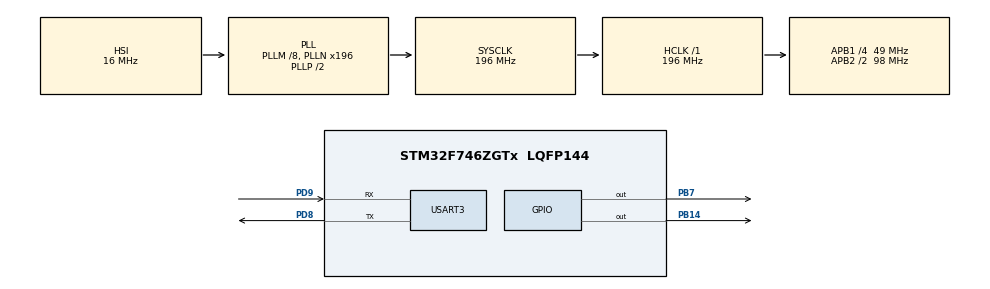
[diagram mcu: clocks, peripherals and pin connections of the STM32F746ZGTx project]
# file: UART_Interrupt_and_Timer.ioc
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Mcu.Family=STM32F7
NVIC.USART3_IRQn=true\:0\:0\:false\:false\:true\:true\:true
RCC.CortexFreq_Value=196000000
TIM1.Channel-Output\ Compare1\ No\ Output=TIM_CHANNEL_1
PD9.Signal=USART3_RX
RCC.APB1CLKDivider=RCC_HCLK_DIV4
PD9.Mode=Asynchronous
RCC.SYSCLKSource=RCC_SYSCLKSOURCE_PLLCLK
ProjectManager.StackSize=0x400
VP_TIM1_VS_no_output1.Mode=Output Compare1 No Output
USART3.VirtualMode-Asynchronous=VM_ASYNC
TIM1.Prescaler=16-1
ProjectManager.TargetToolchain=STM32CubeIDE
RCC.HCLKFreq_Value=196000000
RCC.APB2TimFreq_Value=196000000
PD8.Signal=USART3_TX
RCC.USBFreq_Value=196000000
RCC.LSE_VALUE=32768
PD8.Mode=Asynchronous
RCC.AHBFreq_Value=196000000
PB14.Signal=GPIO_Output
RCC.HSE_VALUE=25000000
board=custom
RCC.VCOOutputFreq_Value=392000000
RCC.APB2Freq_Value=98000000
PB7.Signal=GPIO_Output
Mcu.Name=STM32F746ZGTx
VP_TIM1_VS_ClockSourceINT.Mode=Internal
NVIC.TIM1_CC_IRQn=true\:1\:0\:true\:false\:true\:true\:true
RCC.SYSCLKFreq_VALUE=196000000
Mcu.Package=LQFP144
TIM1.Pulse-Output\ Compare1\ No\ Output=65535
ProjectManager.HeapSize=0x200
RCC.HSI_VALUE=16000000
NVIC.PriorityGroup=NVIC_PRIORITYGROUP_4
RCC.APB2CLKDivider=RCC_HCLK_DIV2
RCC.PLLM=8
RCC.PLLN=196
RCC.APB1TimFreq_Value=98000000
RCC.APB1Freq_Value=49000000

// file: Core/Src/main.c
/* USER CODE BEGIN Header */
/**
  ******************************************************************************
  * @file           : main.c
  * @brief          : Main program body
  ******************************************************************************
  * @attention
  *
  * <h2><center>&copy; Copyright (c) 2021 STMicroelectronics.
  * All rights reserved.</center></h2>
  *
  * This software component is licensed by ST under BSD 3-Clause license,
  * the "License"; You may not use this file except in compliance with the
  * License. You may obtain a copy of the License at:
  *                        opensource.org/licenses/BSD-3-Clause
  *
  ******************************************************************************
  */
/* USER CODE END Header */
#include "main.h"

TIM_HandleTypeDef htim1;

UART_HandleTypeDef huart3;

/* USER CODE BEGIN PV */
uint8_t aRxBuffer[8]={0};
uint8_t aTxBuffer[8]={0};

/* USER CODE END PV */

void SystemClock_Config(void);
static void MX_GPIO_Init(void);
static void MX_USART3_UART_Init(void);
static void MX_TIM1_Init(void);

/* USER CODE BEGIN 0 */
void HAL_UART_ErrorCallback(UART_HandleTypeDef *huart){
	HAL_GPIO_TogglePin(GPIOB, GPIO_PIN_7);
}

void HAL_UART_RxCpltCallback(UART_HandleTypeDef *huart){
	HAL_UART_Receive_IT(&huart3, aRxBuffer, 8);
	HAL_GPIO_TogglePin(GPIOB, GPIO_PIN_7);
	HAL_UART_Transmit_IT(&huart3, aTxBuffer, 8);
}

void HAL_UART_TxCpltCallback(UART_HandleTypeDef *huart){
	//HAL_UART_Receive_IT(&huart3, aRxBuffer, 8);
	HAL_GPIO_TogglePin(GPIOB, GPIO_PIN_7);
}

void HAL_TIM_OC_DelayElapsedCallback(TIM_HandleTypeDef * htim){
	HAL_GPIO_TogglePin(GPIOB, GPIO_PIN_14);
	__HAL_TIM_SET_COUNTER(&htim1, 0);
}
/* USER CODE END 0 */

int main(void)
{

  /* MCU Configuration--------------------------------------------------------*/

  /* Reset of all peripherals, Initializes the Flash interface and the Systick. */
  HAL_Init();

  /* Configure the system clock */
  SystemClock_Config();

  /* Initialize all configured peripherals */
  MX_GPIO_Init();
  MX_USART3_UART_Init();
  MX_TIM1_Init();
  /* USER CODE BEGIN 2 */
  HAL_UART_Receive_IT(&huart3, aRxBuffer, 8);
  HAL_TIM_OC_Start_IT(&htim1, TIM_CHANNEL_1);
  /* USER CODE END 2 */

  /* Infinite loop */
  while (1)
  {

  }
}

void SystemClock_Config(void)
{
  RCC_OscInitTypeDef RCC_OscInitStruct = {0};
  RCC_ClkInitTypeDef RCC_ClkInitStruct = {0};
  RCC_PeriphCLKInitTypeDef PeriphClkInitStruct = {0};

  /** Configure the main internal regulator output voltage
  */
  __HAL_RCC_PWR_CLK_ENABLE();
  __HAL_PWR_VOLTAGESCALING_CONFIG(PWR_REGULATOR_VOLTAGE_SCALE1);
  /** Initializes the RCC Oscillators according to the specified parameters
  * in the RCC_OscInitTypeDef structure.
  */
  RCC_OscInitStruct.OscillatorType = RCC_OSCILLATORTYPE_HSI;
  RCC_OscInitStruct.HSIState = RCC_HSI_ON;
  RCC_OscInitStruct.HSICalibrationValue = RCC_HSICALIBRATION_DEFAULT;
  RCC_OscInitStruct.PLL.PLLState = RCC_PLL_ON;
  RCC_OscInitStruct.PLL.PLLSource = RCC_PLLSOURCE_HSI;
  RCC_OscInitStruct.PLL.PLLM = 8;
  RCC_OscInitStruct.PLL.PLLN = 196;
  RCC_OscInitStruct.PLL.PLLP = RCC_PLLP_DIV2;
  RCC_OscInitStruct.PLL.PLLQ = 2;
  if (HAL_RCC_OscConfig(&RCC_OscInitStruct) != HAL_OK)
  {
    Error_Handler();
  }
  /** Activate the Over-Drive mode
  */
  if (HAL_PWREx_EnableOverDrive() != HAL_OK)
  {
    Error_Handler();
  }
  /** Initializes the CPU, AHB and APB buses clocks
  */
  RCC_ClkInitStruct.ClockType = RCC_CLOCKTYPE_HCLK|RCC_CLOCKTYPE_SYSCLK
                              |RCC_CLOCKTYPE_PCLK1|RCC_CLOCKTYPE_PCLK2;
  RCC_ClkInitStruct.SYSCLKSource = RCC_SYSCLKSOURCE_PLLCLK;
  RCC_ClkInitStruct.AHBCLKDivider = RCC_SYSCLK_DIV1;
  RCC_ClkInitStruct.APB1CLKDivider = RCC_HCLK_DIV4;
  RCC_ClkInitStruct.APB2CLKDivider = RCC_HCLK_DIV2;

  if (HAL_RCC_ClockConfig(&RCC_ClkInitStruct, FLASH_LATENCY_6) != HAL_OK)
  {
    Error_Handler();
  }
  PeriphClkInitStruct.PeriphClockSelection = RCC_PERIPHCLK_USART3;
  PeriphClkInitStruct.Usart3ClockSelection = RCC_USART3CLKSOURCE_PCLK1;
  if (HAL_RCCEx_PeriphCLKConfig(&PeriphClkInitStruct) != HAL_OK)
  {
    Error_Handler();
  }
}

static void MX_TIM1_Init(void)
{

  TIM_ClockConfigTypeDef sClockSourceConfig = {0};
  TIM_MasterConfigTypeDef sMasterConfig = {0};
  TIM_OC_InitTypeDef sConfigOC = {0};
  TIM_BreakDeadTimeConfigTypeDef sBreakDeadTimeConfig = {0};

  htim1.Instance = TIM1;
  htim1.Init.Prescaler = 196-1;
  htim1.Init.CounterMode = TIM_COUNTERMODE_UP;
  htim1.Init.Period = 65535;
  htim1.Init.ClockDivision = TIM_CLOCKDIVISION_DIV1;
  htim1.Init.RepetitionCounter = 0;
  htim1.Init.AutoReloadPreload = TIM_AUTORELOAD_PRELOAD_DISABLE;
  if (HAL_TIM_Base_Init(&htim1) != HAL_OK)
  {
    Error_Handler();
  }
  sClockSourceConfig.ClockSource = TIM_CLOCKSOURCE_INTERNAL;
  if (HAL_TIM_ConfigClockSource(&htim1, &sClockSourceConfig) != HAL_OK)
  {
    Error_Handler();
  }
  if (HAL_TIM_OC_Init(&htim1) != HAL_OK)
  {
    Error_Handler();
  }
  sMasterConfig.MasterOutputTrigger = TIM_TRGO_RESET;
  sMasterConfig.MasterOutputTrigger2 = TIM_TRGO2_RESET;
  sMasterConfig.MasterSlaveMode = TIM_MASTERSLAVEMODE_DISABLE;
  if (HAL_TIMEx_MasterConfigSynchronization(&htim1, &sMasterConfig) != HAL_OK)
  {
    Error_Handler();
  }
  sConfigOC.OCMode = TIM_OCMODE_TIMING;
  sConfigOC.Pulse = 65535;
  sConfigOC.OCPolarity = TIM_OCPOLARITY_HIGH;
  sConfigOC.OCNPolarity = TIM_OCNPOLARITY_HIGH;
  sConfigOC.OCFastMode = TIM_OCFAST_DISABLE;
  sConfigOC.OCIdleState = TIM_OCIDLESTATE_RESET;
  sConfigOC.OCNIdleState = TIM_OCNIDLESTATE_RESET;
  if (HAL_TIM_OC_ConfigChannel(&htim1, &sConfigOC, TIM_CHANNEL_1) != HAL_OK)
  {
    Error_Handler();
  }
  sBreakDeadTimeConfig.OffStateRunMode = TIM_OSSR_DISABLE;
  sBreakDeadTimeConfig.OffStateIDLEMode = TIM_OSSI_DISABLE;
  sBreakDeadTimeConfig.LockLevel = TIM_LOCKLEVEL_OFF;
  sBreakDeadTimeConfig.DeadTime = 0;
  sBreakDeadTimeConfig.BreakState = TIM_BREAK_DISABLE;
  sBreakDeadTimeConfig.BreakPolarity = TIM_BREAKPOLARITY_HIGH;
  sBreakDeadTimeConfig.BreakFilter = 0;
  sBreakDeadTimeConfig.Break2State = TIM_BREAK2_DISABLE;
  sBreakDeadTimeConfig.Break2Polarity = TIM_BREAK2POLARITY_HIGH;
  sBreakDeadTimeConfig.Break2Filter = 0;
  sBreakDeadTimeConfig.AutomaticOutput = TIM_AUTOMATICOUTPUT_DISABLE;
  if (HAL_TIMEx_ConfigBreakDeadTime(&htim1, &sBreakDeadTimeConfig) != HAL_OK)
  {
    Error_Handler();
  }

}

static void MX_USART3_UART_Init(void)
{

  huart3.Instance = USART3;
  huart3.Init.BaudRate = 115200;
  huart3.Init.WordLength = UART_WORDLENGTH_8B;
  huart3.Init.StopBits = UART_STOPBITS_1;
  huart3.Init.Parity = UART_PARITY_NONE;
  huart3.Init.Mode = UART_MODE_TX_RX;
  huart3.Init.HwFlowCtl = UART_HWCONTROL_NONE;
  huart3.Init.OverSampling = UART_OVERSAMPLING_16;
  huart3.Init.OneBitSampling = UART_ONE_BIT_SAMPLE_DISABLE;
  huart3.AdvancedInit.AdvFeatureInit = UART_ADVFEATURE_NO_INIT;
  if (HAL_UART_Init(&huart3) != HAL_OK)
  {
    Error_Handler();
  }

}

static void MX_GPIO_Init(void)
{
  GPIO_InitTypeDef GPIO_InitStruct = {0};

  /* GPIO Ports Clock Enable */
  __HAL_RCC_GPIOB_CLK_ENABLE();
  __HAL_RCC_GPIOD_CLK_ENABLE();

  /*Configure GPIO pin Output Level */
  HAL_GPIO_WritePin(GPIOB, GPIO_PIN_14|GPIO_PIN_7, GPIO_PIN_RESET);

  /*Configure GPIO pins : PB14 PB7 */
  GPIO_InitStruct.Pin = GPIO_PIN_14|GPIO_PIN_7;
  GPIO_InitStruct.Mode = GPIO_MODE_OUTPUT_PP;
  GPIO_InitStruct.Pull = GPIO_NOPULL;
  GPIO_InitStruct.Speed = GPIO_SPEED_FREQ_LOW;
  HAL_GPIO_Init(GPIOB, &GPIO_InitStruct);

}

void Error_Handler(void)
{
  __disable_irq();
  while (1)
  {
  }
}

/************************ (C) COPYRIGHT STMicroelectronics *****END OF FILE****/
